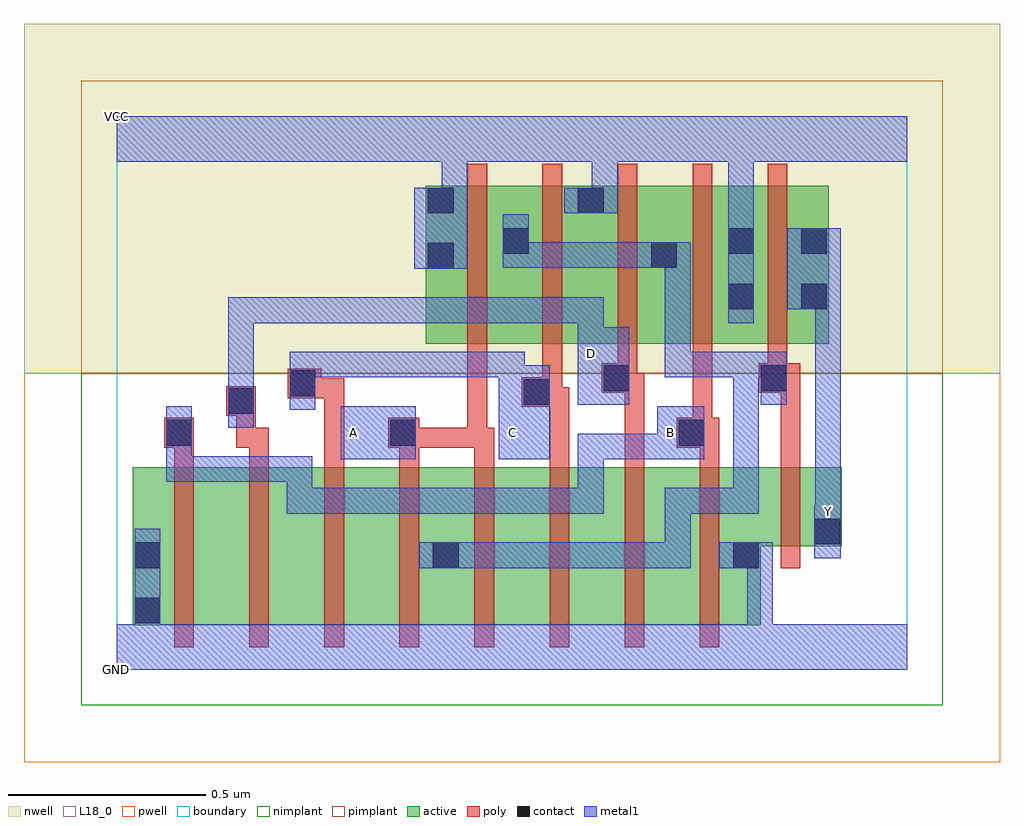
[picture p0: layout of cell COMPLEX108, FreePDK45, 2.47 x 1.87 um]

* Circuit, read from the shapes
.subckt COMPLEX108 A B C D GND VCC Y
M1 n1 B GND VSUBS nfet w=0.4u l=0.05u
M2 n2 D n1 VSUBS nfet w=0.4u l=0.05u
M3 n3 C n2 VSUBS nfet w=0.4u l=0.05u
M4 n4 A n3 VSUBS nfet w=0.4u l=0.05u
M5 n5 A n4 VSUBS nfet w=0.4u l=0.05u
M6 n6 C n5 VSUBS nfet w=0.4u l=0.05u
M7 n7 D n6 VSUBS nfet w=0.4u l=0.05u
M8 GND B n7 VSUBS nfet w=0.4u l=0.05u
M9 Y n4 GND VSUBS nfet w=0.2u l=0.05u
M10 n4 A VCC n8 pfet w=0.4u l=0.05u
M11 VCC C n4 n8 pfet w=0.4u l=0.05u
M12 n4 D VCC n8 pfet w=0.4u l=0.05u
M13 VCC B n4 n8 pfet w=0.4u l=0.05u
M14 Y n4 VCC n8 pfet w=0.4u l=0.05u
.ends

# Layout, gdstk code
import gdstk
lib = gdstk.Library(unit=1e-6, precision=1e-09)
def R(c, l, rs):  # rectangles x0, y0, x1, y1
    for r in rs: c.add(gdstk.rectangle(r[:2], r[2:], *l))
def A(c, l, x, y, w, h, nx, ny, dx, dy):  # array of equal rectangles
    R(c, l, [(x+i*dx, y+j*dy, x+i*dx+w, y+j*dy+h) for i in range(nx) for j in range(ny)])
active = (1, 0)
pwell = (2, 0)
nwell = (3, 0)
nimplant = (4, 0)
pimplant = (5, 0)
poly = (9, 0)
contact = (10, 0)
metal1 = (11, 0)
L18_0 = (18, 0)
boundary = (235, 0)

complex108 = lib.new_cell('COMPLEX108')
R(complex108, active, [(0.04,0.112,0.115,0.512), (0.04,0.112,0.265,0.512), (0.265,0.112,0.455,0.512), (0.455,0.112,0.645,0.512), (0.645,0.112,0.87,0.512), (0.795,0.112,1.025,0.512), (1.025,0.112,1.215,0.512), (1.215,0.112,1.405,0.512), (1.405,0.112,1.63,0.512), (1.555,0.112,1.63,0.512), (0.795,0.2,0.87,0.492), (1.555,0.312,1.835,0.512), (1.76,0.312,1.835,0.512), (0.782,0.825,1.047,1.225), (0.972,0.825,1.237,1.225), (1.162,0.825,1.422,1.225), (1.347,0.825,1.422,1.2), (1.347,0.825,1.617,1.225), (1.542,0.825,1.802,1.225), (1.727,0.825,1.802,1.2), (1.542,0.872,1.617,1.205), (0.782,0.907,0.857,1.225), (0.972,0.907,1.047,1.2), (1.162,0.907,1.237,1.225)])
R(complex108, pwell, [(-0.235,-0.235,2.235,0.75)])
R(complex108, nwell, [(-0.235,0.75,2.235,1.635)])
R(complex108, nimplant, [(-0.09,-0.09,2.09,0.75)])
R(complex108, pimplant, [(-0.09,0.75,2.09,1.49)])
A(complex108, poly, 0.145, 0.057, 0.05, 0.51, 8, 1, 0.19, 0)
A(complex108, poly, 0.887, 0.77, 0.05, 0.51, 5, 1, 0.19, 0)
R(complex108, poly, [(1.68,0.257,1.73,0.567), (0.145,0.517,0.195,0.612), (0.335,0.517,0.385,0.612), (0.525,0.517,0.575,0.737), (0.715,0.517,0.765,0.612), (0.905,0.517,0.955,0.612), (1.095,0.517,1.145,0.715), (1.285,0.517,1.335,0.75), (1.475,0.517,1.525,0.612), (1.68,0.517,1.73,0.75), (0.12,0.562,0.195,0.637), (0.302,0.562,0.352,0.692), (0.302,0.562,0.385,0.612), (0.687,0.562,0.765,0.637), (0.715,0.562,0.765,0.612), (0.715,0.562,0.765,0.612), (0.715,0.562,0.937,0.612), (0.887,0.562,0.937,0.612), (0.887,0.562,0.937,0.612), (0.887,0.562,0.955,0.612), (0.887,0.562,0.937,0.82), (1.417,0.562,1.525,0.637), (1.457,0.587,1.507,0.637), (1.457,0.587,1.507,0.637), (1.457,0.587,1.507,0.82), (0.277,0.642,0.352,0.717), (1.025,0.665,1.127,0.74), (1.077,0.665,1.127,0.715), (1.077,0.665,1.145,0.715), (0.432,0.687,0.517,0.762), (0.467,0.687,0.517,0.737), (0.467,0.687,0.575,0.737), (1.077,0.69,1.127,0.82), (1.227,0.7,1.317,0.775), (1.267,0.7,1.317,0.75), (1.267,0.7,1.335,0.75), (1.625,0.7,1.73,0.775), (1.267,0.725,1.317,0.82), (1.647,0.725,1.697,0.82), (1.647,0.725,1.697,0.775), (1.647,0.725,1.697,0.775)])
R(complex108, contact, [(0.045,0.117,0.11,0.182), (0.045,0.257,0.11,0.322), (0.8,0.257,0.865,0.322), (1.56,0.257,1.625,0.322), (1.765,0.317,1.83,0.382), (0.125,0.567,0.19,0.632), (0.692,0.567,0.757,0.632), (1.422,0.567,1.487,0.632), (0.282,0.647,0.347,0.712), (1.03,0.67,1.095,0.735), (0.437,0.692,0.502,0.757), (1.232,0.705,1.297,0.77), (1.63,0.705,1.695,0.77), (1.547,0.912,1.612,0.977), (1.732,0.912,1.797,0.977), (0.787,1.015,0.852,1.08), (1.352,1.017,1.417,1.082), (0.977,1.052,1.042,1.117), (1.547,1.052,1.612,1.117), (1.732,1.052,1.797,1.117), (0.787,1.155,0.852,1.22), (1.167,1.155,1.232,1.22)])
R(complex108, metal1, [(0,0,2,0.115), (0.045,0.05,0.11,0.147), (1.595,0.05,1.66,0.322), (0.045,0.082,0.11,0.357), (0.765,0.257,0.9,0.322), (0.835,0.257,0.9,0.322), (0.835,0.257,0.9,0.322), (0.835,0.257,1.06,0.322), (0.995,0.257,1.06,0.322), (0.995,0.257,1.06,0.322), (0.995,0.257,1.06,0.322), (0.995,0.257,1.06,0.322), (0.995,0.257,1.06,0.322), (0.995,0.257,1.232,0.322), (1.167,0.257,1.232,0.322), (1.167,0.257,1.232,0.322), (1.167,0.257,1.232,0.322), (1.167,0.257,1.452,0.322), (1.387,0.257,1.452,0.322), (1.387,0.257,1.452,0.322), (1.387,0.257,1.452,0.46), (1.525,0.257,1.66,0.322), (1.765,0.282,1.832,0.417), (1.767,0.332,1.832,0.467), (1.767,0.352,1.832,0.417), (0.43,0.395,0.495,0.46), (0.43,0.395,0.64,0.46), (0.43,0.395,0.495,0.54), (0.575,0.395,0.64,0.46), (0.575,0.395,0.895,0.46), (0.83,0.395,0.895,0.46), (0.83,0.395,0.895,0.46), (0.83,0.395,0.895,0.46), (0.83,0.395,0.895,0.46), (0.83,0.395,0.895,0.46), (0.83,0.395,1.037,0.46), (0.972,0.395,1.037,0.46), (0.972,0.395,1.037,0.46), (0.972,0.395,1.037,0.46), (0.972,0.395,1.232,0.46), (1.167,0.395,1.232,0.46), (1.167,0.395,1.232,0.46), (1.167,0.395,1.232,0.597), (1.387,0.395,1.625,0.46), (1.56,0.395,1.625,0.46), (1.56,0.395,1.625,0.805), (1.767,0.402,1.832,0.977), (1.767,0.402,1.832,0.467), (1.767,0.402,1.832,0.467), (0.125,0.475,0.327,0.54), (0.125,0.475,0.19,0.597), (0.262,0.475,0.327,0.54), (0.262,0.475,0.327,0.54), (0.262,0.475,0.327,0.54), (0.262,0.475,0.495,0.54), (0.43,0.475,0.495,0.54), (0.43,0.475,0.495,0.54), (0.43,0.475,0.495,0.54), (0.125,0.532,0.19,0.597), (0.125,0.532,0.19,0.667), (0.567,0.532,0.757,0.667), (0.967,0.532,1.095,0.77), (1.167,0.532,1.432,0.597), (1.367,0.532,1.432,0.597), (1.367,0.532,1.432,0.597), (1.367,0.532,1.487,0.667), (0.282,0.612,0.347,0.747), (0.437,0.657,0.502,0.792), (1.167,0.67,1.297,0.867), (1.63,0.67,1.695,0.805), (0.282,0.682,0.347,0.747), (0.282,0.682,0.347,0.747), (0.282,0.682,0.347,0.942), (0.967,0.705,1.032,0.77), (0.967,0.705,1.032,0.805), (0.437,0.727,0.502,0.792), (0.437,0.727,0.502,0.805), (0.437,0.74,0.737,0.805), (0.672,0.74,0.737,0.805), (0.672,0.74,0.737,0.805), (0.672,0.74,0.737,0.805), (0.672,0.74,0.895,0.805), (0.83,0.74,0.895,0.805), (0.83,0.74,1.032,0.805), (1.387,0.74,1.452,0.805), (1.387,0.74,1.452,0.805), (1.387,0.74,1.452,0.805), (1.387,0.74,1.625,0.805), (1.387,0.74,1.452,1.082), (1.56,0.74,1.625,0.805), (1.56,0.74,1.625,0.805), (1.56,0.74,1.625,0.805), (1.56,0.74,1.695,0.805), (1.167,0.802,1.232,0.867), (1.167,0.802,1.232,0.867), (1.167,0.802,1.232,0.942), (0.282,0.877,0.347,0.942), (0.282,0.877,0.485,0.942), (0.42,0.877,0.485,0.942), (0.42,0.877,0.485,0.942), (0.42,0.877,0.485,0.942), (0.42,0.877,0.757,0.942), (0.692,0.877,0.757,0.942), (0.692,0.877,0.757,0.942), (0.692,0.877,0.757,0.942), (0.692,0.877,0.895,0.942), (0.83,0.877,0.895,0.942), (0.83,0.877,1.037,0.942), (0.972,0.877,1.037,0.942), (0.972,0.877,1.037,0.942), (0.972,0.877,1.037,0.942), (0.972,0.877,1.232,0.942), (1.167,0.877,1.232,0.942), (1.547,0.877,1.612,1.152), (1.697,0.912,1.832,1.117), (0.752,1.015,0.887,1.22), (0.977,1.017,1.042,1.082), (0.977,1.017,1.042,1.082), (0.977,1.017,1.042,1.152), (0.977,1.017,1.232,1.082), (1.167,1.017,1.232,1.082), (1.167,1.017,1.232,1.082), (1.167,1.017,1.232,1.082), (1.167,1.017,1.382,1.082), (1.317,1.017,1.382,1.082), (1.317,1.017,1.382,1.082), (1.317,1.017,1.452,1.082), (1.547,1.087,1.612,1.35), (0.822,1.155,0.887,1.35), (1.132,1.155,1.267,1.22), (1.202,1.155,1.267,1.35), (0,1.285,2,1.4)])
A(complex108, L18_0, 0.567, 0.567, 0.065, 0.065, 3, 1, 0.4, 0)
R(complex108, L18_0, [(0,0,2,0.115), (0.045,0.05,0.11,0.147), (1.595,0.05,1.66,0.322), (0.045,0.082,0.11,0.357), (1.525,0.257,1.66,0.322), (1.765,0.282,1.832,0.417), (1.767,0.332,1.832,0.467), (1.767,0.352,1.832,0.417), (1.767,0.367,1.832,0.432), (0.43,0.395,0.495,0.46), (0.43,0.395,0.495,0.54), (0.43,0.395,0.64,0.46), (0.575,0.395,0.64,0.46), (0.575,0.395,0.895,0.46), (0.83,0.395,0.895,0.46), (0.83,0.395,0.895,0.46), (0.83,0.395,0.895,0.46), (0.83,0.395,0.895,0.46), (0.83,0.395,0.895,0.46), (0.83,0.395,1.037,0.46), (0.972,0.395,1.037,0.46), (0.972,0.395,1.037,0.46), (0.972,0.395,1.037,0.46), (0.972,0.395,1.232,0.46), (1.167,0.395,1.232,0.46), (1.167,0.395,1.232,0.46), (1.167,0.395,1.232,0.597), (1.767,0.402,1.832,0.467), (1.767,0.402,1.832,0.467), (1.767,0.402,1.832,0.977), (0.125,0.475,0.19,0.597), (0.125,0.475,0.327,0.54), (0.262,0.475,0.327,0.54), (0.262,0.475,0.327,0.54), (0.262,0.475,0.327,0.54), (0.262,0.475,0.495,0.54), (0.43,0.475,0.495,0.54), (0.43,0.475,0.495,0.54), (0.43,0.475,0.495,0.54), (0.125,0.532,0.19,0.667), (0.125,0.532,0.19,0.597), (0.567,0.532,0.757,0.667), (0.967,0.532,1.095,0.77), (1.167,0.532,1.432,0.597), (1.367,0.532,1.432,0.597), (1.367,0.532,1.432,0.597), (1.367,0.532,1.487,0.667), (0.282,0.612,0.347,0.747), (0.437,0.657,0.502,0.792), (1.167,0.67,1.297,0.867), (0.282,0.682,0.347,0.747), (0.282,0.682,0.347,0.747), (0.282,0.682,0.347,0.942), (0.967,0.705,1.032,0.77), (0.967,0.705,1.032,0.805), (0.437,0.727,0.502,0.792), (0.437,0.727,0.502,0.805), (0.437,0.74,0.737,0.805), (0.672,0.74,0.737,0.805), (0.672,0.74,0.737,0.805), (0.672,0.74,0.737,0.805), (0.672,0.74,0.895,0.805), (0.83,0.74,0.895,0.805), (0.83,0.74,1.032,0.805), (1.167,0.767,1.232,0.832), (1.167,0.802,1.232,0.867), (1.167,0.802,1.232,0.867), (1.167,0.802,1.232,0.942), (0.282,0.877,0.347,0.942), (0.282,0.877,0.485,0.942), (0.42,0.877,0.485,0.942), (0.42,0.877,0.485,0.942), (0.42,0.877,0.485,0.942), (0.42,0.877,0.757,0.942), (0.692,0.877,0.757,0.942), (0.692,0.877,0.757,0.942), (0.692,0.877,0.757,0.942), (0.692,0.877,0.895,0.942), (0.83,0.877,0.895,0.942), (0.83,0.877,1.037,0.942), (0.972,0.877,1.037,0.942), (0.972,0.877,1.037,0.942), (0.972,0.877,1.037,0.942), (0.972,0.877,1.232,0.942), (1.167,0.877,1.232,0.942), (1.547,0.877,1.612,1.152), (1.697,0.912,1.832,1.117), (0.752,1.015,0.887,1.22), (1.547,1.087,1.612,1.35), (0.822,1.155,0.887,1.35), (1.132,1.155,1.267,1.22), (1.202,1.155,1.267,1.35), (0,1.285,2,1.4)])
R(complex108, boundary, [(0,0,2,1.4)])
complex108.add(gdstk.Label('A', (0.6,0.6), layer=11, texttype=0))
complex108.add(gdstk.Label('B', (1.4,0.6), layer=11, texttype=0))
complex108.add(gdstk.Label('C', (1,0.6), layer=11, texttype=0))
complex108.add(gdstk.Label('D', (1.2,0.8), layer=11, texttype=0))
complex108.add(gdstk.Label('Y', (1.8,0.4), layer=11, texttype=0))
complex108.add(gdstk.Label('VCC', (0,1.4), layer=11, texttype=0))
complex108.add(gdstk.Label('GND', (0,0), layer=11, texttype=0))

lib.write_gds('COMPLEX108.gds')
